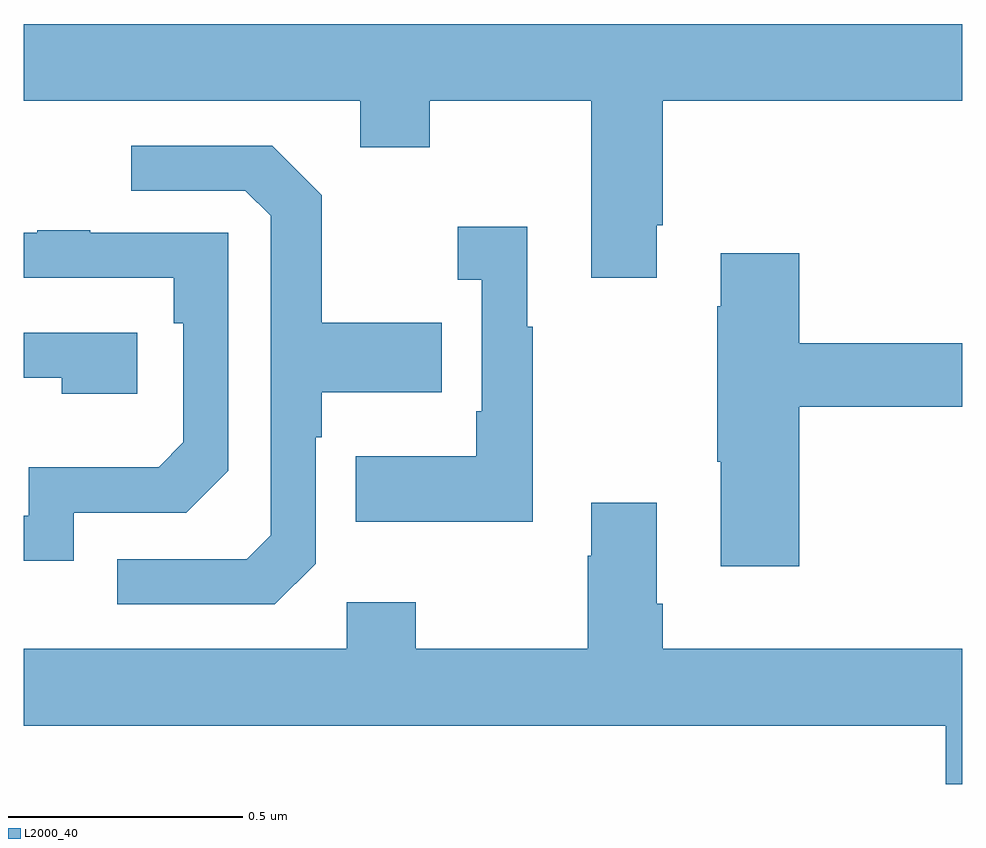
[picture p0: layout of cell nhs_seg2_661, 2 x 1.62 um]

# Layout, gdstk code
import gdstk
lib = gdstk.Library(unit=1e-6, precision=1e-09)
def P(c, l, *ps):  # polygons
    for p in ps: c.add(gdstk.Polygon(p, *l))
L2000_40 = (2000, 40)

nhs_seg2_661 = lib.new_cell('nhs_seg2_661')
P(nhs_seg2_661, L2000_40, [(120.349,602.083),(120.362,602.083),(120.362,602.348),(121,602.348),(121,602.512),(119,602.512),(119,602.348),(119.717,602.348),(119.717,602.249),(119.865,602.249),(119.865,602.348),(120.209,602.348),(120.209,601.971),(120.349,601.971)],
  [(119.622,601.362),(119.622,601.631),(119.635,601.631),(119.635,601.727),(119.891,601.727),(119.891,601.875),(119.635,601.875),(119.635,602.147),(119.529,602.253),(119.229,602.253),(119.229,602.157),(119.472,602.157),(119.526,602.103),(119.526,601.422),(119.475,601.371),(119.199,601.371),(119.199,601.275),(119.535,601.275)],
  [(120.085,601.867),(120.073,601.867),(120.073,602.08),(119.925,602.08),(119.925,601.967),(119.976,601.967),(119.976,601.687),(119.964,601.687),(119.964,601.591),(119.707,601.591),(119.707,601.451),(120.085,601.451)],
  [(119.106,601.47),(119.346,601.47),(119.436,601.56),(119.436,602.067),(119.141,602.067),(119.141,602.072),(119.029,602.072),(119.029,602.067),(119,602.067),(119,601.971),(119.32,601.971),(119.32,601.874),(119.34,601.874),(119.34,601.62),(119.287,601.567),(119.01,601.567),(119.01,601.464),(119,601.464),(119,601.368),(119.106,601.368)],
  [(120.653,601.696),(121,601.696),(121,601.832),(120.653,601.832),(120.653,602.023),(120.485,602.023),(120.485,601.91),(120.478,601.91),(120.478,601.579),(120.485,601.579),(120.485,601.356),(120.653,601.356)],
  [(119.242,601.854),(119,601.854),(119,601.758),(119.081,601.758),(119.081,601.724),(119.242,601.724)],
  [(121,601.18),(120.362,601.18),(120.362,601.276),(120.349,601.276),(120.349,601.492),(120.209,601.492),(120.209,601.379),(120.202,601.379),(120.202,601.18),(119.835,601.18),(119.835,601.279),(119.688,601.279),(119.688,601.18),(119,601.18),(119,601.016),(120.965,601.016),(120.965,600.892),(121,600.892)])

lib.write_gds('nhs_seg2_661.gds')
